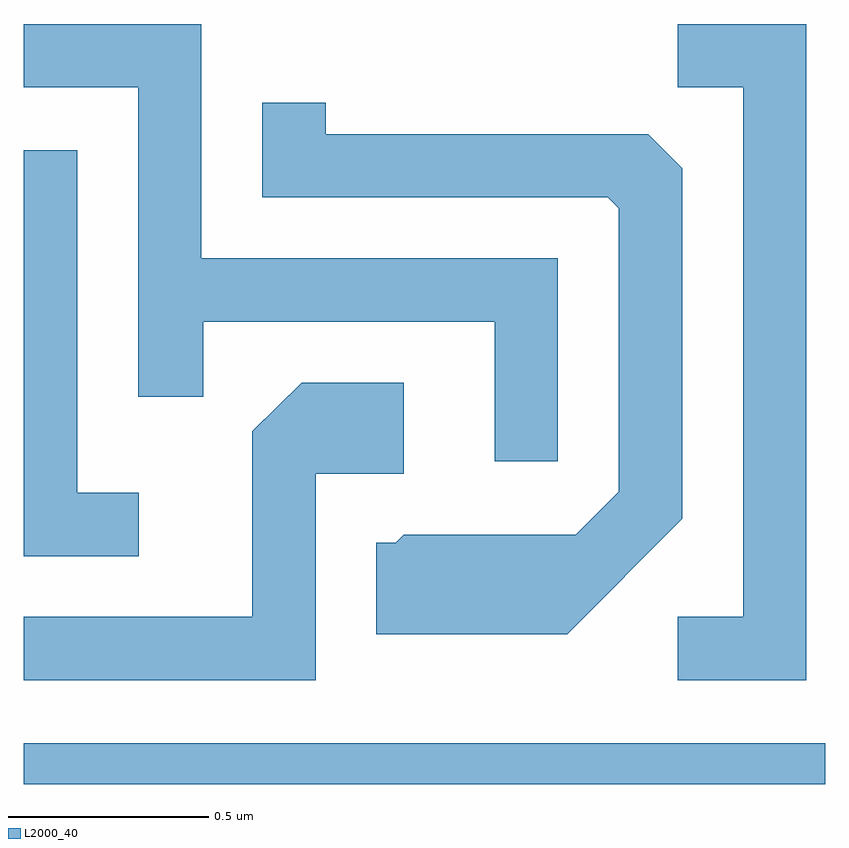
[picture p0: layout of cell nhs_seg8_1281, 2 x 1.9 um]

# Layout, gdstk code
import gdstk
lib = gdstk.Library(unit=1e-6, precision=1e-09)
def R(c, l, rs):  # rectangles x0, y0, x1, y1
    for r in rs: c.add(gdstk.rectangle(r[:2], r[2:], *l))
def P(c, l, *ps):  # polygons
    for p in ps: c.add(gdstk.Polygon(p, *l))
L2000_40 = (2000, 40)

nhs_seg8_1281 = lib.new_cell('nhs_seg8_1281')
R(nhs_seg8_1281, L2000_40, [(194.611,1854.342,196.611,1854.444)])
P(nhs_seg8_1281, L2000_40, [(196.564,1856.239),(196.243,1856.239),(196.243,1856.081),(196.406,1856.081),(196.406,1854.759),(196.243,1854.759),(196.243,1854.601),(196.564,1854.601)],
  [(195.944,1855.654),(195.054,1855.654),(195.054,1856.239),(194.611,1856.239),(194.611,1856.081),(194.896,1856.081),(194.896,1855.308),(195.059,1855.308),(195.059,1855.496),(195.786,1855.496),(195.786,1855.148),(195.944,1855.148)],
  [(196.254,1855.004),(196.254,1855.879),(196.169,1855.964),(195.364,1855.964),(195.364,1856.043),(195.206,1856.043),(195.206,1855.806),(196.069,1855.806),(196.096,1855.779),(196.096,1855.072),(195.989,1854.964),(195.559,1854.964),(195.539,1854.944),(195.491,1854.944),(195.491,1854.716),(195.967,1854.716)],
  [(194.898,1855.069),(194.744,1855.069),(194.744,1855.924),(194.611,1855.924),(194.611,1854.911),(194.898,1854.911)],
  [(195.339,1855.116),(195.559,1855.116),(195.559,1855.344),(195.304,1855.344),(195.181,1855.222),(195.181,1854.759),(194.611,1854.759),(194.611,1854.601),(195.339,1854.601)])

lib.write_gds('nhs_seg8_1281.gds')
